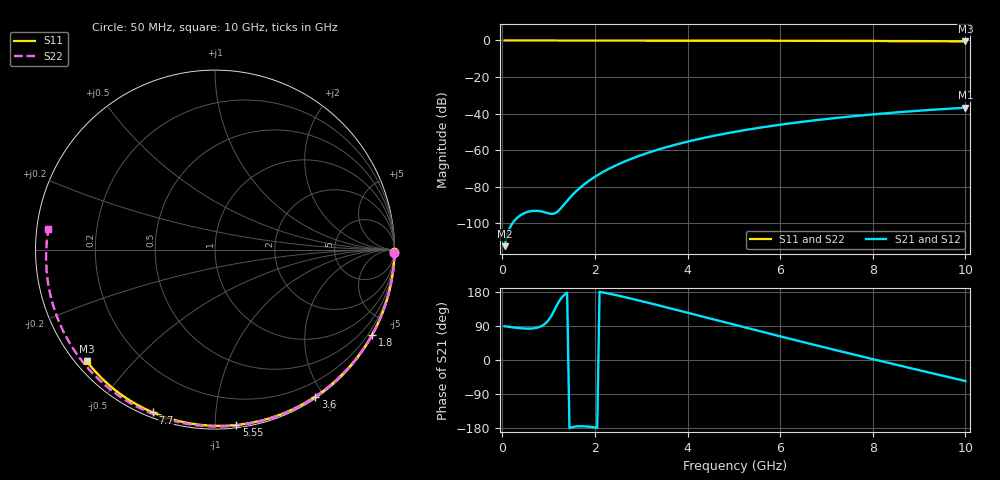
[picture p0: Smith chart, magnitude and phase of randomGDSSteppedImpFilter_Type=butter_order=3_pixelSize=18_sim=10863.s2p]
! freq	dB(S11)	phase(S11)	dB(S12)	phase(S12)
!  dB(S21)	phase(S21)	dB(S22)	phase(S22)
!S-par simulation data
#  GHz  S  DB  R 50
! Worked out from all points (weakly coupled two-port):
!   200 points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, 50 MHz to 10 GHz, reference 50 ohm
!   highest |S21| = -36.80 dB at 10 GHz (marker M1); lowest = -112.5 dB at 50 MHz (marker M2)
!   lowest |S11| = -0.5 dB at 10 GHz (marker M3), VSWR 36.81, Z = 1.55 - j18.6 ohm
!   |S11| at or under -10 dB: nowhere
!   |S22| runs from -0.6 to 0.0 dB; largest |S21 - S12| = 0
!   S11 on the Smith chart (normalised r, x): 50 MHz: open; 1.8 GHz: 0.03, -3.94; 3.6 GHz: 0.02, -1.89; 5.55 GHz: 0.02, -1.13; 7.7 GHz: 0.02, -0.69; 10 GHz: 0.03, -0.37
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0.05  -0.00 -0.8  -112.55 89.1  -112.55 89.1  -0.00 -1.1
0.45  -0.01 -7.2  -94.80 83.3  -94.80 83.3  -0.01 -9.9
0.85  -0.02 -13.6  -93.56 89.7  -93.56 89.7  -0.02 -18.7
1.25  -0.02 -19.9  -92.23 159.3  -92.23 159.3  -0.03 -27.3
1.7  -0.03 -27.0  -80.13 -174.7  -80.13 -174.7  -0.05 -36.9
1.75  -0.04 -27.7  -79.09 -174.9  -79.09 -174.9  -0.05 -37.9
1.8  -0.04 -28.5  -78.10 -175.2  -78.10 -175.2  -0.05 -39.0
2.1  -0.04 -33.2  -73.03 179.9  -73.03 179.9  -0.06 -45.2
2.5  -0.05 -39.3  -67.80 170.0  -67.80 170.0  -0.07 -53.5
2.9  -0.06 -45.3  -63.65 158.6  -63.65 158.6  -0.08 -61.5
3.4  -0.07 -52.8  -59.44 143.4  -59.44 143.4  -0.09 -71.4
3.6  -0.07 -55.7  -57.98 137.2  -57.98 137.2  -0.10 -75.3
4.3  -0.09 -65.8  -53.60 115.3  -53.60 115.3  -0.13 -88.5
5.05  -0.12 -76.3  -49.87 91.9  -49.87 91.9  -0.16 -102.1
5.55  -0.14 -83.1  -47.77 76.3  -47.77 76.3  -0.18 -110.9
6.1  -0.16 -90.4  -45.75 59.4  -45.75 59.4  -0.21 -120.4
6.7  -0.19 -98.2  -43.83 41.1  -43.83 41.1  -0.25 -130.6
7.2  -0.22 -104.6  -42.42 26.0  -42.42 26.0  -0.29 -139.0
7.7  -0.25 -110.9  -41.15 11.1  -41.15 11.1  -0.33 -147.4
8.35  -0.30 -119.0  -39.69 -8.0  -39.69 -8.0  -0.39 -158.3
9.2  -0.38 -129.3  -38.07 -32.6  -38.07 -32.6  -0.49 -172.8
10  -0.47 -139.1  -36.80 -55.5  -36.80 -55.5  -0.59 173.0
